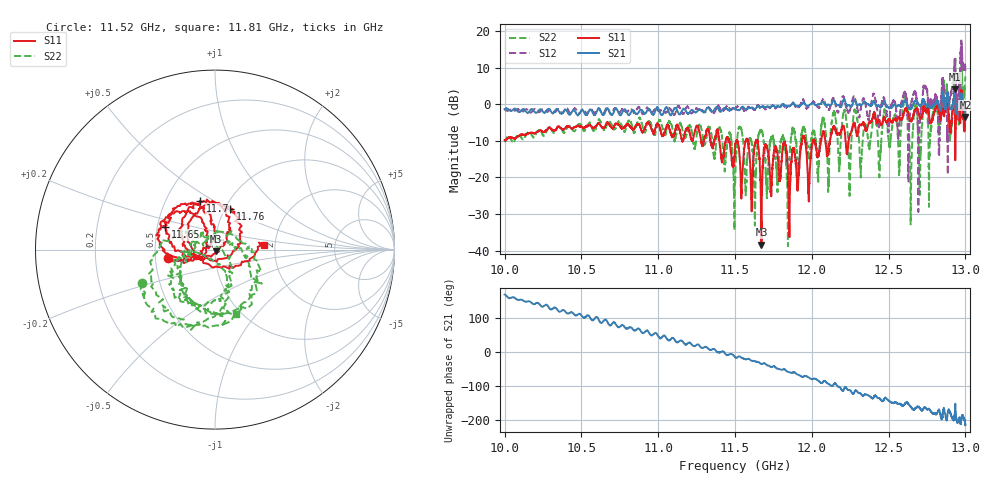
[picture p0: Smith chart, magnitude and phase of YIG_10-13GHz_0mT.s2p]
#  HZ  S  RI  R  50.0
! Rohde & Schwarz ZVL13 2Ports - Version 3.31 - 1303.6509k13 SN: 101088
! Date: 2023-03-06 15:48:35
! Data & Calibration Information:
! Trc4:S11(TOSM) Trc2:S21(TOSM) Trc3:S12(TOSM) Trc5:S22(TOSM)
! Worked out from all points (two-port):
!   4000 points, 10 GHz to 13 GHz, reference 50 ohm
!   highest |S21| = 4.06 dB at 12.93 GHz (marker M1); lowest = -3.5 dB at 13 GHz (marker M2)
!   |S21| within 3 dB of the highest: 12.84751 GHz to 12.86013 GHz (12.63 MHz wide, 0.0982 % of centre); 12.87807 GHz to 12.89089 GHz (12.82 MHz wide, 0.0995 % of centre)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
!   lowest |S11| = -38.4 dB at 11.67 GHz (marker M3), VSWR 1.02, Z = 50.7 - j1 ohm
!   |S11| at or under -10 dB: 11.51466 GHz to 11.5704 GHz (55.74 MHz wide, 0.483 % of centre); 11.58341 GHz to 11.63539 GHz (51.98 MHz wide, 0.448 % of centre); 11.65 GHz to 11.94 GHz (288.8 MHz wide, 2.45 % of centre)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
!   |S22| runs from -38.8 to 12.4 dB; largest |S21 - S12| = 6.1
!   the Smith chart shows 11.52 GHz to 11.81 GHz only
!   S11 on the Smith chart (normalised r, x): 11.52 GHz: 0.58, -0.06; 11.65 GHz: 0.55, +0.15; 11.7 GHz: 0.74, +0.44; 11.76 GHz: 1.06, +0.51; 11.81 GHz: 1.74, +0.11
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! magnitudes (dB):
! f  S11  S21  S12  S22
! 10 GHz  -9.8  -1.4  -1.4  -10.4
! 10.5 GHz  -6.2  -1.6  -1.8  -5.7
! 11 GHz  -5.5  -1.2  -1.9  -5.0
! 11.5 GHz  -11.3  -1.4  -1.3  -22.1
! 11.52 GHz  -11.4  -1.7  -0.8  -7.0
! 11.65 GHz  -10.3  -0.5  -0.2  -10.0
! 11.67 GHz  -38.4  -0.7  -0.8  -7.4
! 11.7 GHz  -10.9  -0.9  -1.4  -18.5
! 11.76 GHz  -12.4  -0.6  -1.0  -10.9
! 11.81 GHz  -11.3  0.1  0.1  -8.4
! 11.84 GHz  -16.6  -0.5  -0.6  -33.5
! 11.88 GHz  -12.1  0.3  0.6  -6.7
! 12 GHz  -11.9  0.2  0.3  -8.7
! 12.5 GHz  -4.0  -0.8  -7.3  -10.0
! 12.61 GHz  -1.5  0.7  2.7  2.8
! 12.65 GHz  -4.7  -1.2  0.2  -22.3
! 12.67 GHz  -1.8  1.0  3.4  0.1
! 12.71 GHz  -3.7  -0.4  -3.6  -19.8
! 12.74 GHz  -1.5  0.2  4.5  -0.3
! 12.83 GHz  -1.3  -0.1  -12.2  -7.9
! 12.93 GHz  2.6  4.1  12.8  9.2
! 13 GHz  -1.4  -3.5  10.5  7.6
